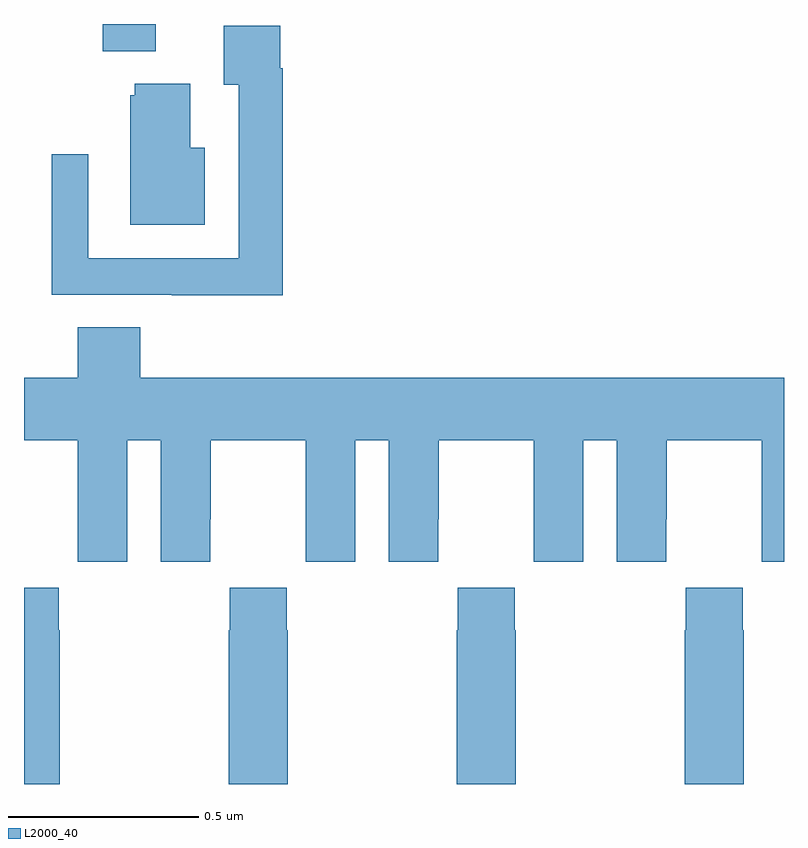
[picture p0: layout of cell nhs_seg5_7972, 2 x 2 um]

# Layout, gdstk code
import gdstk
lib = gdstk.Library(unit=1e-6, precision=1e-09)
def R(c, l, rs):  # rectangles x0, y0, x1, y1
    for r in rs: c.add(gdstk.rectangle(r[:2], r[2:], *l))
def P(c, l, *ps):  # polygons
    for p in ps: c.add(gdstk.Polygon(p, *l))
L2000_40 = (2000, 40)

nhs_seg5_7972 = lib.new_cell('nhs_seg5_7972')
R(nhs_seg5_7972, L2000_40, [(215.207,913.727,215.347,913.799)])
P(nhs_seg5_7972, L2000_40, [(215.681,913.682),(215.674,913.682),(215.674,913.795),(215.525,913.795),(215.525,913.639),(215.565,913.639),(215.565,913.182),(215.169,913.182),(215.169,913.456),(215.073,913.456),(215.073,913.086),(215.389,913.086),(215.389,913.085),(215.681,913.085)],
  [(215.476,913.474),(215.437,913.474),(215.437,913.642),(215.291,913.642),(215.291,913.611),(215.279,913.611),(215.279,913.271),(215.476,913.271)],
  [(215.272,912.704),(215.36,912.704),(215.36,912.384),(215.49,912.384),(215.49,912.496),(215.491,912.496),(215.491,912.704),(215.741,912.704),(215.741,912.496),(215.742,912.496),(215.742,912.384),(215.872,912.384),(215.872,912.704),(215.96,912.704),(215.96,912.384),(216.09,912.384),(216.09,912.496),(216.091,912.496),(216.091,912.704),(216.341,912.704),(216.341,912.496),(216.342,912.496),(216.342,912.384),(216.472,912.384),(216.472,912.704),(216.56,912.704),(216.56,912.384),(216.69,912.384),(216.69,912.496),(216.691,912.496),(216.691,912.704),(216.941,912.704),(216.941,912.496),(216.942,912.496),(216.942,912.384),(217,912.384),(217,912.868),(215.306,912.868),(215.306,913.001),(215.141,913.001),(215.141,912.868),(215,912.868),(215,912.704),(215.141,912.704),(215.141,912.496),(215.142,912.496),(215.142,912.384),(215.272,912.384)],
  [(216.894,912.203),(216.891,912.203),(216.891,912.316),(216.741,912.316),(216.741,912.203),(216.739,912.203),(216.739,911.799),(216.894,911.799)],
  [(216.294,912.203),(216.291,912.203),(216.291,912.316),(216.141,912.316),(216.141,912.203),(216.139,912.203),(216.139,911.799),(216.294,911.799)],
  [(215.694,912.203),(215.691,912.203),(215.691,912.316),(215.541,912.316),(215.541,912.203),(215.539,912.203),(215.539,911.799),(215.694,911.799)],
  [(215.094,912.203),(215.091,912.203),(215.091,912.316),(215,912.316),(215,911.799),(215.094,911.799)])

lib.write_gds('nhs_seg5_7972.gds')
